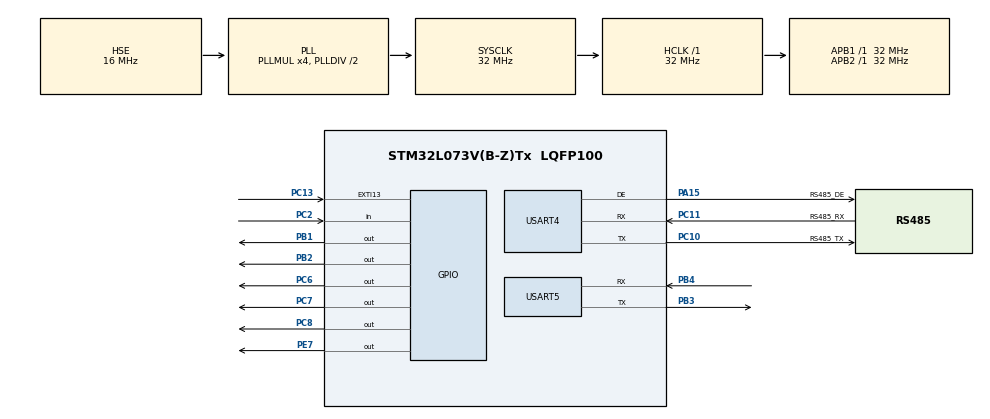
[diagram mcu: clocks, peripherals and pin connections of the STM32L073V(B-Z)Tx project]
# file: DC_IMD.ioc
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Dma.Request0=USART4_RX
Dma.USART4_RX.0.Direction=DMA_PERIPH_TO_MEMORY
Dma.USART4_RX.0.Instance=DMA1_Channel2
Dma.USART4_RX.0.MemDataAlignment=DMA_MDATAALIGN_BYTE
Dma.USART4_RX.0.MemInc=DMA_MINC_ENABLE
Dma.USART4_RX.0.Mode=DMA_NORMAL
Dma.USART4_RX.0.PeriphDataAlignment=DMA_PDATAALIGN_BYTE
Dma.USART4_RX.0.PeriphInc=DMA_PINC_DISABLE
Dma.USART4_RX.0.Priority=DMA_PRIORITY_LOW
Mcu.Family=STM32L0
Mcu.Name=STM32L073V(B-Z)Tx
Mcu.Package=LQFP100
NVIC.DMA1_Channel2_3_IRQn=true\:0\:0\:false\:false\:true\:false\:true\:true
NVIC.EXTI4_15_IRQn=true\:0\:0\:false\:false\:true\:true\:true\:true
NVIC.USART4_5_IRQn=true\:0\:0\:false\:false\:true\:true\:true\:true
PA13.Mode=Serial_Wire
PA13.Signal=SYS_SWDIO
PA14.Mode=Serial_Wire
PA14.Signal=SYS_SWCLK
PA15.GPIO_Label=RS485_DE
PA15.Mode=Hardware Flow Control (RS485)
PA15.Signal=USART4_DE
PB1.Signal=GPIO_Output
PB2.Signal=GPIO_Output
PB3.Mode=Asynchronous
PB3.Signal=USART5_TX
PB4.Mode=Asynchronous
PB4.Signal=USART5_RX
PC10.GPIO_Label=RS485_TX
PC10.Mode=Asynchronous
PC10.Signal=USART4_TX
PC11.GPIO_Label=RS485_RX
PC11.Mode=Asynchronous
PC11.Signal=USART4_RX
PC13.Signal=GPXTI13
PC2.Signal=GPIO_Input
PC6.Signal=GPIO_Output
PC7.Signal=GPIO_Output
PC8.Signal=GPIO_Output
PE7.Signal=GPIO_Output
PH0-OSC_IN.Mode=HSE-External-Oscillator
PH0-OSC_IN.Signal=RCC_OSC_IN
PH1-OSC_OUT.Mode=HSE-External-Oscillator
PH1-OSC_OUT.Signal=RCC_OSC_OUT
ProjectManager.HeapSize=0x200
ProjectManager.StackSize=0x400
ProjectManager.TargetToolchain=STM32CubeIDE
RCC.AHBFreq_Value=32000000
RCC.APB1Freq_Value=32000000
RCC.APB1TimFreq_Value=32000000
RCC.APB2Freq_Value=32000000
RCC.APB2TimFreq_Value=32000000
RCC.HCLKFreq_Value=32000000
RCC.HSE_VALUE=16000000
RCC.HSI16_VALUE=16000000
RCC.HSI48_VALUE=48000000
RCC.HSI_VALUE=16000000
RCC.LSE_VALUE=32768
RCC.MSI_VALUE=2097000
RCC.PLLMUL=RCC_PLLMUL_4
RCC.PLLSourceVirtual=RCC_PLLSOURCE_HSE
RCC.SYSCLKFreq_VALUE=32000000
RCC.SYSCLKSource=RCC_SYSCLKSOURCE_PLLCLK
RCC.VCOOutputFreq_Value=64000000
USART4.VirtualMode-Asynchronous=VM_ASYNC
USART4.VirtualMode-Hardware\ Flow\ Control\ (RS485)=VM_ASYNC
USART5.VirtualMode-Asynchronous=VM_ASYNC
board=custom

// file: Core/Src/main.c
/* USER CODE BEGIN Header */
/**
  ******************************************************************************
  * @file           : main.c
  * @brief          : Main program body
  ******************************************************************************
  * @attention
  *
  * Copyright (c) 2024 STMicroelectronics.
  * All rights reserved.
  *
  * This software is licensed under terms that can be found in the LICENSE file
  * in the root directory of this software component.
  * If no LICENSE file comes with this software, it is provided AS-IS.
  *
  ******************************************************************************
  */
/* USER CODE END Header */
#include "main.h"

/* USER CODE BEGIN Includes */
#include "modbus_crc.h"
#include "stdio.h"
#include "string.h"
/* USER CODE END Includes */

UART_HandleTypeDef huart4;
UART_HandleTypeDef huart5;
DMA_HandleTypeDef hdma_usart4_rx;

/* USER CODE BEGIN PV */

int _write(int file, char *ptr, int len)
{
	HAL_UART_Transmit(&huart5, (uint8_t *)ptr, len, HAL_MAX_DELAY);
	return len;
}

/* USER CODE END PV */

void SystemClock_Config(void);
static void MX_GPIO_Init(void);
static void MX_DMA_Init(void);
static void MX_USART4_UART_Init(void);
static void MX_USART5_UART_Init(void);

/* USER CODE BEGIN 0 */

uint8_t RxData[32];
uint8_t TxData[8];
uint16_t Data[8];
char buffer[40];
int flag = 1;

void sendData (uint8_t *data)
{
	HAL_GPIO_WritePin(RS485_DE_GPIO_Port, RS485_DE_Pin, GPIO_PIN_SET);  // enable the transmission
	HAL_UART_Transmit(&huart4, data, 8, 1000);
	HAL_GPIO_WritePin(RS485_DE_GPIO_Port,RS485_DE_Pin , GPIO_PIN_RESET);  // stop the transmission

	HAL_GPIO_WritePin(GPIOC, GPIO_PIN_7, SET); // for led indication
}

void HAL_UARTEx_RxEventCallback(UART_HandleTypeDef *huart, uint16_t Size)
{
	Data[0] = RxData[3]<<8 | RxData[4];
	Data[1] = RxData[5]<<8 | RxData[6];
	Data[2] = RxData[7]<<8 | RxData[8];
	Data[3] = RxData[9]<<8 | RxData[10];
	Data[4] = RxData[11]<<8 | RxData[12];
	Data[5] = RxData[13]<<8 | RxData[14];
	Data[6] = RxData[15]<<8 | RxData[16];
	Data[7] = RxData[17]<<8 | RxData[18];

	HAL_GPIO_WritePin(GPIOB, GPIO_PIN_1, SET);
}

void Insulation_Monitoring_ON (void)
{
	TxData[0] = 0x01;  // slave address
	TxData[1] = 0x06;  // Function code for Read Holding Registers
	TxData[2] = 0x01;
	TxData[3] = 0x02;
	TxData[4] = 0x00;
	TxData[5] = 0x11;
	TxData[6] = 0xE9;
	TxData[7] = 0xFA;

	sendData(TxData);
}

void Self_Test_ON (void)
{
	TxData[0] = 0x01;
	TxData[1] = 0x06;
	TxData[2] = 0x01;
	TxData[3] = 0x03;
	TxData[4] = 0x00;
	TxData[5] = 0x13;
	TxData[6] = 0x39;
	TxData[7] = 0xFB;

	sendData(TxData);
}

void Self_Test_OFF (void)
{
	TxData[0] = 0x01;
	TxData[1] = 0x06;
	TxData[2] = 0x01;
	TxData[3] = 0x03;
	TxData[4] = 0x00;
	TxData[5] = 0x00;
	TxData[6] = 0x78;
	TxData[7] = 0x36;

	sendData(TxData);
}

void Insulation_Resistance (void)  // DC voltage measurement
{
	TxData[0] = 0x01;
	TxData[1] = 0x03;
	TxData[2] = 0x00;
	TxData[3] = 0x10;
	TxData[4] = 0x00;
	TxData[5] = 0x04;
	TxData[6] = 0x45;
	TxData[7] = 0xCC;

	sendData(TxData);
}

void Insulation_Monitoring_OFF (void)
{
	TxData[0] = 0x01;
	TxData[1] = 0x06;
	TxData[2] = 0x01;
	TxData[3] = 0x02;
	TxData[4] = 0x00;
	TxData[5] = 0x00;
	TxData[6] = 0x29;
	TxData[7] = 0xF6;

	sendData(TxData);
}

void Isolation_Monitoring_OFF_BY_EM (void)
{
	if (HAL_GPIO_ReadPin(GPIOC, GPIO_PIN_2) == GPIO_PIN_SET)
	{
		Insulation_Monitoring_OFF ();
		HAL_Delay(5);
	}
	else
	{
		Insulation_Resistance();
	    HAL_Delay(20);
	}
}
/* USER CODE END 0 */

int main(void)
{

  /* MCU Configuration--------------------------------------------------------*/

  /* Reset of all peripherals, Initializes the Flash interface and the Systick. */
  HAL_Init();

  /* Configure the system clock */
  SystemClock_Config();

  /* Initialize all configured peripherals */
  MX_GPIO_Init();
  MX_DMA_Init();
  MX_USART4_UART_Init();
  MX_USART5_UART_Init();
  /* USER CODE BEGIN 2 */

  HAL_UARTEx_ReceiveToIdle_IT(&huart4, RxData, 32);

//  TxData[0] = 0x01;  // slave address
//  TxData[1] = 0x06;  // Function code for Read Holding Registers
//  TxData[1] = 0x04;  // Function code for Read Input Registers

  /*
   * The function code 0x03 means we are reading Holding Registers
   * The Register address ranges from 40001 - 50000
   * The register address we input can range from 0-9999 (0x00-0x270F)
   * Here 0 corresponds to the Address 40001 and 9999 corresponds to 50000
   * Although we can only read 125 registers sequentially at once
   */
//  TxData[2] = 0x01;  //00
//  TxData[3] = 0x03; // voltage current and power values done
  //The Register address will be 00000000 00000100 = 4 + 40001 = 40005

//  TxData[2] = 0;
//  TxData[3] = 0x01;
  //The Register address will be 00000000 00000001 = 1 +30001 = 30002

//  TxData[4] = 0x00;
//  TxData[5] = 0x13; //meter will start fetching data from 0061H address to total 1f consecutive data from the next addresses.
  // no of registers to read will be 00000000 00000101 = 5 Registers = 10 Bytes

//  uint16_t crc = crc16(TxData, 6);
//  TxData[6] = crc&0xFF;   // CRC LOW
//  TxData[7] = (crc>>8)&0xFF;  // CRC HIGH

//  TxData[6] = 0x39;
//  TxData[7] = 0xFB;  // CRC HIGH // needed to set the baudrate I lost my 1 hour.. keep focus on your work.

    Insulation_Monitoring_ON ();
    HAL_Delay(100);
//   Self_Test_ON ();
//   HAL_Delay(5000);
//   Self_Test_OFF ();
//   HAL_Delay(5000);

  /* USER CODE END 2 */

  /* Infinite loop */
  while (1)
  {

    /* USER CODE BEGIN 3 */

	  HAL_UARTEx_ReceiveToIdle_IT(&huart4, RxData, 32);

	  Isolation_Monitoring_OFF_BY_EM ();

	  printf("***** IMD Values *****\n");
	  printf("\n");
	  uint16_t DC_Voltage = Data[0]; // dc voltage reading
	  int Value = (int)DC_Voltage;   // Convert hexadecimal to integer
	  float floatValue = Value / 10.0;  // Divide by 10 to get float value
	  sprintf(buffer, "DC_Voltage: %.2f\r\n", floatValue);
	  HAL_UART_Transmit(&huart5, (uint8_t *)buffer, strlen(buffer), 100);  // Send the string over UART

	  uint16_t Tot_Insulation_resistance = Data[1]; // total insulation resistance
	  int Value1 = (int)Tot_Insulation_resistance;   // Convert hexadecimal to integer
	  sprintf(buffer, "Tot_Insulation_resistance: %d\r\n", Value1);
	  HAL_UART_Transmit(&huart5, (uint8_t *)buffer, strlen(buffer), 100);  // Send the string over UART

	  uint16_t PosBus_Insulation_resistance = Data[2]; // Positive Bus insulation resistance
	  int Value2 = (int)PosBus_Insulation_resistance;   // Convert hexadecimal to integer
	  sprintf(buffer, "PosBus_Insulation_resistance: %d\r\n", Value2);
	  HAL_UART_Transmit(&huart5, (uint8_t *)buffer, strlen(buffer), 100);  // Send the string over UART

	  uint16_t NegBus_Insulation_resistance = Data[3]; // Negative Bus insulation resistance
	  int Value3 = (int)NegBus_Insulation_resistance;   // Convert hexadecimal to integer
	  sprintf(buffer, "NegBus_Insulation_resistance: %d\r\n", Value3);
	  HAL_UART_Transmit(&huart5, (uint8_t *)buffer, strlen(buffer), 100);  // Send the string over UART
	  printf("\n\n\n");

	  HAL_Delay(1000);

  }
  /* USER CODE END 3 */
}

void SystemClock_Config(void)
{
  RCC_OscInitTypeDef RCC_OscInitStruct = {0};
  RCC_ClkInitTypeDef RCC_ClkInitStruct = {0};

  /** Configure the main internal regulator output voltage
  */
  __HAL_PWR_VOLTAGESCALING_CONFIG(PWR_REGULATOR_VOLTAGE_SCALE1);

  /** Initializes the RCC Oscillators according to the specified parameters
  * in the RCC_OscInitTypeDef structure.
  */
  RCC_OscInitStruct.OscillatorType = RCC_OSCILLATORTYPE_HSE;
  RCC_OscInitStruct.HSEState = RCC_HSE_ON;
  RCC_OscInitStruct.PLL.PLLState = RCC_PLL_ON;
  RCC_OscInitStruct.PLL.PLLSource = RCC_PLLSOURCE_HSE;
  RCC_OscInitStruct.PLL.PLLMUL = RCC_PLLMUL_4;
  RCC_OscInitStruct.PLL.PLLDIV = RCC_PLLDIV_2;
  if (HAL_RCC_OscConfig(&RCC_OscInitStruct) != HAL_OK)
  {
    Error_Handler();
  }

  /** Initializes the CPU, AHB and APB buses clocks
  */
  RCC_ClkInitStruct.ClockType = RCC_CLOCKTYPE_HCLK|RCC_CLOCKTYPE_SYSCLK
                              |RCC_CLOCKTYPE_PCLK1|RCC_CLOCKTYPE_PCLK2;
  RCC_ClkInitStruct.SYSCLKSource = RCC_SYSCLKSOURCE_PLLCLK;
  RCC_ClkInitStruct.AHBCLKDivider = RCC_SYSCLK_DIV1;
  RCC_ClkInitStruct.APB1CLKDivider = RCC_HCLK_DIV1;
  RCC_ClkInitStruct.APB2CLKDivider = RCC_HCLK_DIV1;

  if (HAL_RCC_ClockConfig(&RCC_ClkInitStruct, FLASH_LATENCY_1) != HAL_OK)
  {
    Error_Handler();
  }
}

static void MX_USART4_UART_Init(void)
{

  huart4.Instance = USART4;
  huart4.Init.BaudRate = 9600;
  huart4.Init.WordLength = UART_WORDLENGTH_8B;
  huart4.Init.StopBits = UART_STOPBITS_1;
  huart4.Init.Parity = UART_PARITY_NONE;
  huart4.Init.Mode = UART_MODE_TX_RX;
  huart4.Init.HwFlowCtl = UART_HWCONTROL_NONE;
  huart4.Init.OverSampling = UART_OVERSAMPLING_16;
  huart4.Init.OneBitSampling = UART_ONE_BIT_SAMPLE_DISABLE;
  huart4.AdvancedInit.AdvFeatureInit = UART_ADVFEATURE_NO_INIT;
  if (HAL_RS485Ex_Init(&huart4, UART_DE_POLARITY_HIGH, 0, 0) != HAL_OK)
  {
    Error_Handler();
  }

}

static void MX_USART5_UART_Init(void)
{

  huart5.Instance = USART5;
  huart5.Init.BaudRate = 115200;
  huart5.Init.WordLength = UART_WORDLENGTH_8B;
  huart5.Init.StopBits = UART_STOPBITS_1;
  huart5.Init.Parity = UART_PARITY_NONE;
  huart5.Init.Mode = UART_MODE_TX_RX;
  huart5.Init.HwFlowCtl = UART_HWCONTROL_NONE;
  huart5.Init.OverSampling = UART_OVERSAMPLING_16;
  huart5.Init.OneBitSampling = UART_ONE_BIT_SAMPLE_DISABLE;
  huart5.AdvancedInit.AdvFeatureInit = UART_ADVFEATURE_NO_INIT;
  if (HAL_UART_Init(&huart5) != HAL_OK)
  {
    Error_Handler();
  }

}

static void MX_DMA_Init(void)
{

  /* DMA controller clock enable */
  __HAL_RCC_DMA1_CLK_ENABLE();

  /* DMA interrupt init */
  /* DMA1_Channel2_3_IRQn interrupt configuration */
  HAL_NVIC_SetPriority(DMA1_Channel2_3_IRQn, 0, 0);
  HAL_NVIC_EnableIRQ(DMA1_Channel2_3_IRQn);

}

static void MX_GPIO_Init(void)
{
  GPIO_InitTypeDef GPIO_InitStruct = {0};

  /* GPIO Ports Clock Enable */
  __HAL_RCC_GPIOC_CLK_ENABLE();
  __HAL_RCC_GPIOH_CLK_ENABLE();
  __HAL_RCC_GPIOB_CLK_ENABLE();
  __HAL_RCC_GPIOE_CLK_ENABLE();
  __HAL_RCC_GPIOA_CLK_ENABLE();

  /*Configure GPIO pin Output Level */
  HAL_GPIO_WritePin(GPIOB, GPIO_PIN_1|GPIO_PIN_2, GPIO_PIN_RESET);

  /*Configure GPIO pin Output Level */
  HAL_GPIO_WritePin(GPIOE, GPIO_PIN_7, GPIO_PIN_RESET);

  /*Configure GPIO pin Output Level */
  HAL_GPIO_WritePin(GPIOC, GPIO_PIN_6|GPIO_PIN_7|GPIO_PIN_8, GPIO_PIN_RESET);

  /*Configure GPIO pin : PC13 */
  GPIO_InitStruct.Pin = GPIO_PIN_13;
  GPIO_InitStruct.Mode = GPIO_MODE_IT_RISING;
  GPIO_InitStruct.Pull = GPIO_NOPULL;
  HAL_GPIO_Init(GPIOC, &GPIO_InitStruct);

  /*Configure GPIO pin : PC2 */
  GPIO_InitStruct.Pin = GPIO_PIN_2;
  GPIO_InitStruct.Mode = GPIO_MODE_INPUT;
  GPIO_InitStruct.Pull = GPIO_NOPULL;
  HAL_GPIO_Init(GPIOC, &GPIO_InitStruct);

  /*Configure GPIO pins : PB1 PB2 */
  GPIO_InitStruct.Pin = GPIO_PIN_1|GPIO_PIN_2;
  GPIO_InitStruct.Mode = GPIO_MODE_OUTPUT_PP;
  GPIO_InitStruct.Pull = GPIO_NOPULL;
  GPIO_InitStruct.Speed = GPIO_SPEED_FREQ_LOW;
  HAL_GPIO_Init(GPIOB, &GPIO_InitStruct);

  /*Configure GPIO pin : PE7 */
  GPIO_InitStruct.Pin = GPIO_PIN_7;
  GPIO_InitStruct.Mode = GPIO_MODE_OUTPUT_PP;
  GPIO_InitStruct.Pull = GPIO_NOPULL;
  GPIO_InitStruct.Speed = GPIO_SPEED_FREQ_LOW;
  HAL_GPIO_Init(GPIOE, &GPIO_InitStruct);

  /*Configure GPIO pins : PC6 PC7 PC8 */
  GPIO_InitStruct.Pin = GPIO_PIN_6|GPIO_PIN_7|GPIO_PIN_8;
  GPIO_InitStruct.Mode = GPIO_MODE_OUTPUT_PP;
  GPIO_InitStruct.Pull = GPIO_NOPULL;
  GPIO_InitStruct.Speed = GPIO_SPEED_FREQ_LOW;
  HAL_GPIO_Init(GPIOC, &GPIO_InitStruct);

  /* EXTI interrupt init*/
  HAL_NVIC_SetPriority(EXTI4_15_IRQn, 0, 0);
  HAL_NVIC_EnableIRQ(EXTI4_15_IRQn);

}

void Error_Handler(void)
{
  __disable_irq();
  while (1)
  {
  }
}
